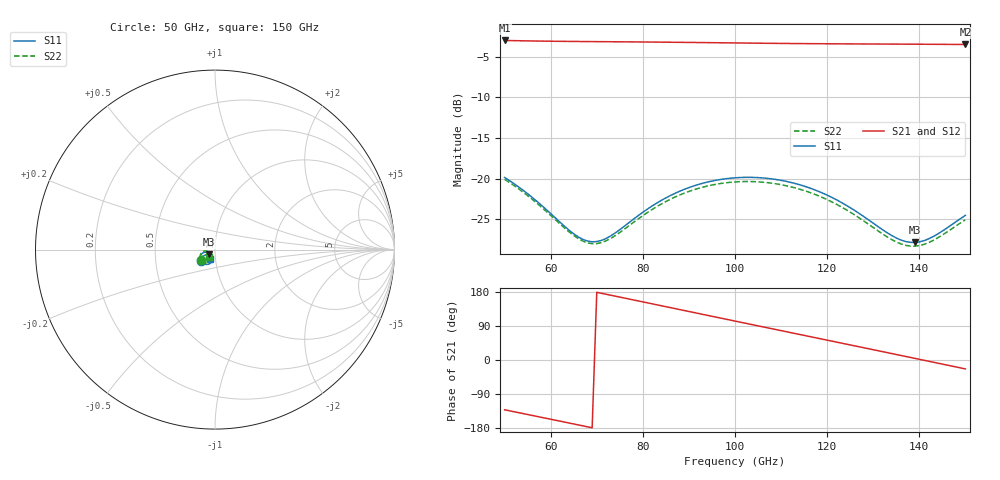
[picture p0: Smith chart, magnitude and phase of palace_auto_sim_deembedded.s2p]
! Created with skrf 1.11.0 (http://scikit-rf.org).
# GHz S DB R 50.0
!freq dBS11 angS11 dBS21 angS21 dBS12 angS12 dBS22 angS22
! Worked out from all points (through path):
!   101 points, 50 GHz to 150 GHz, reference 50 ohm
!   highest |S21| = -2.99 dB at 50 GHz (marker M1); lowest = -3.5 dB at 150 GHz (marker M2)
!   group delay of S21, straight-line fit = 7.01 ps
!   lowest |S11| = -27.9 dB at 139 GHz (marker M3), VSWR 1.08, Z = 46.9 - j2.4 ohm
!   |S11| at or under -10 dB: start of sweep to end of sweep
!   |S22| runs from -28.3 to -20.1 dB; largest |S21 - S12| = 7.8e-14
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50  -19.86 -142.2  -2.99 -131.4  -2.99 -131.4  -20.09 -143.6
55  -21.86 -149.1  -3.04 -143.8  -3.04 -143.8  -22.10 -150.8
59  -23.79 -151.1  -3.07 -153.8  -3.07 -153.8  -24.01 -153.0
64  -26.35 -145.3  -3.10 -166.3  -3.10 -166.3  -26.56 -147.8
67  -27.48 -135.9  -3.12 -173.8  -3.12 -173.8  -27.70 -138.9
69  -27.78 -127.8  -3.13 -178.9  -3.13 -178.9  -28.01 -131.3
72  -27.37 -116.2  -3.14 173.6  -3.14 173.6  -27.66 -120.1
78  -24.98 -104.7  -3.17 158.4  -3.17 158.4  -25.37 -109.0
84  -22.68 -106.3  -3.19 143.2  -3.19 143.2  -23.13 -110.8
92  -20.73 -116.7  -3.24 123.0  -3.24 123.0  -21.21 -121.6
96  -20.19 -123.3  -3.27 112.8  -3.27 112.8  -20.68 -128.5
100  -19.90 -130.3  -3.29 102.7  -3.29 102.7  -20.41 -135.7
104  -19.85 -137.4  -3.32 92.6  -3.32 92.6  -20.37 -143.0
108  -20.03 -144.3  -3.34 82.6  -3.34 82.6  -20.56 -150.1
112  -20.45 -150.8  -3.36 72.5  -3.36 72.5  -20.99 -156.9
117  -21.32 -158.1  -3.38 59.9  -3.38 59.9  -21.86 -164.5
126  -23.93 -165.5  -3.41 37.3  -3.41 37.3  -24.48 -172.3
134  -27.00 -157.1  -3.43 17.1  -3.43 17.1  -27.50 -164.4
137  -27.74 -148.0  -3.44 9.5  -3.44 9.5  -28.21 -155.7
139  -27.86 -140.9  -3.45 4.4  -3.45 4.4  -28.32 -148.9
143  -27.14 -127.9  -3.46 -5.8  -3.46 -5.8  -27.61 -136.7
150  -24.52 -118.5  -3.48 -23.5  -3.48 -23.5  -25.06 -128.1
